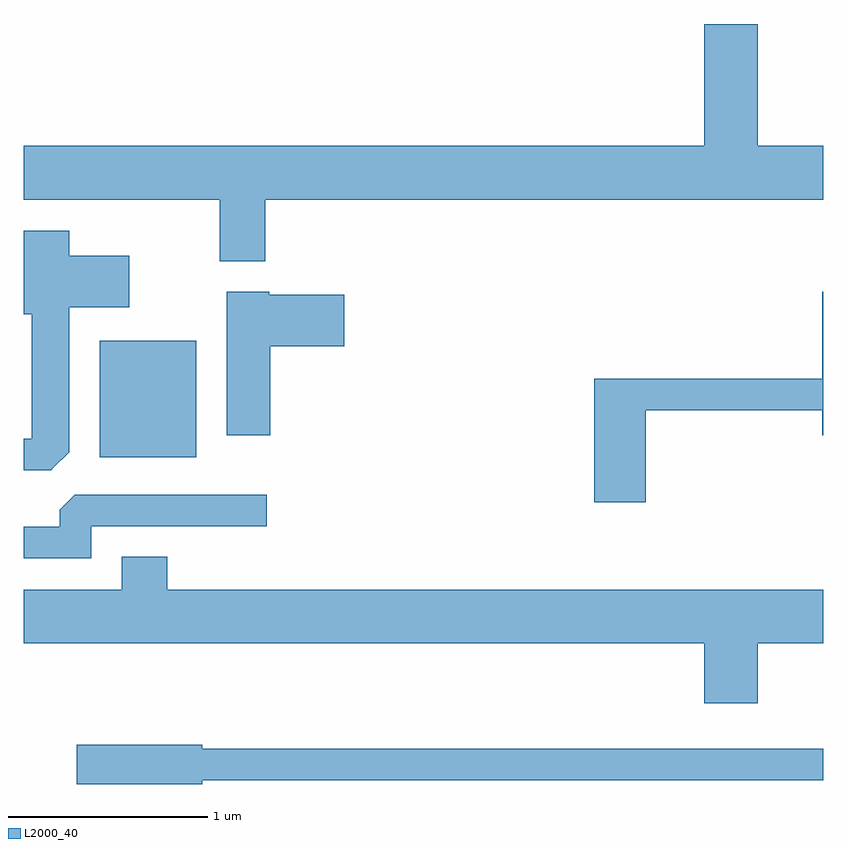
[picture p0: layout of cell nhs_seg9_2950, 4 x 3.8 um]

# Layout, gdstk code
import gdstk
lib = gdstk.Library(unit=1e-6, precision=1e-09)
def R(c, l, rs):  # rectangles x0, y0, x1, y1
    for r in rs: c.add(gdstk.rectangle(r[:2], r[2:], *l))
def P(c, l, *ps):  # polygons
    for p in ps: c.add(gdstk.Polygon(p, *l))
L2000_40 = (2000, 40)

nhs_seg9_2950 = lib.new_cell('nhs_seg9_2950')
R(nhs_seg9_2950, L2000_40, [(271.991,2006.066,272.474,2006.649)])
P(nhs_seg9_2950, L2000_40, [(272.819,2007.356),(275.611,2007.356),(275.611,2007.624),(275.284,2007.624),(275.284,2008.234),(275.016,2008.234),(275.016,2007.624),(271.611,2007.624),(271.611,2007.356),(272.591,2007.356),(272.591,2007.046),(272.819,2007.046)],
  [(271.76,2006.013),(271.839,2006.092),(271.839,2006.816),(272.139,2006.816),(272.139,2007.074),(271.839,2007.074),(271.839,2007.199),(271.611,2007.199),(271.611,2006.781),(271.651,2006.781),(271.651,2006.159),(271.611,2006.159),(271.611,2006.001),(271.749,2006.001)],
  [(272.844,2006.621),(273.214,2006.621),(273.214,2006.879),(272.84,2006.879),(272.84,2006.894),(272.626,2006.894),(272.626,2006.176),(272.844,2006.176)],
  [(274.724,2006.301),(275.606,2006.301),(275.606,2006.176),(275.611,2006.176),(275.611,2006.894),(275.606,2006.894),(275.606,2006.459),(274.466,2006.459),(274.466,2005.841),(274.724,2005.841)],
  [(271.949,2005.721),(272.828,2005.721),(272.828,2005.879),(271.867,2005.879),(271.791,2005.804),(271.791,2005.719),(271.611,2005.719),(271.611,2005.561),(271.949,2005.561)],
  [(275.284,2005.136),(275.611,2005.136),(275.611,2005.404),(272.329,2005.404),(272.329,2005.569),(272.101,2005.569),(272.101,2005.404),(271.611,2005.404),(271.611,2005.136),(275.016,2005.136),(275.016,2004.836),(275.284,2004.836)],
  [(272.504,2004.451),(275.611,2004.451),(275.611,2004.609),(272.504,2004.609),(272.504,2004.629),(271.876,2004.629),(271.876,2004.432),(272.504,2004.432)])

lib.write_gds('nhs_seg9_2950.gds')
